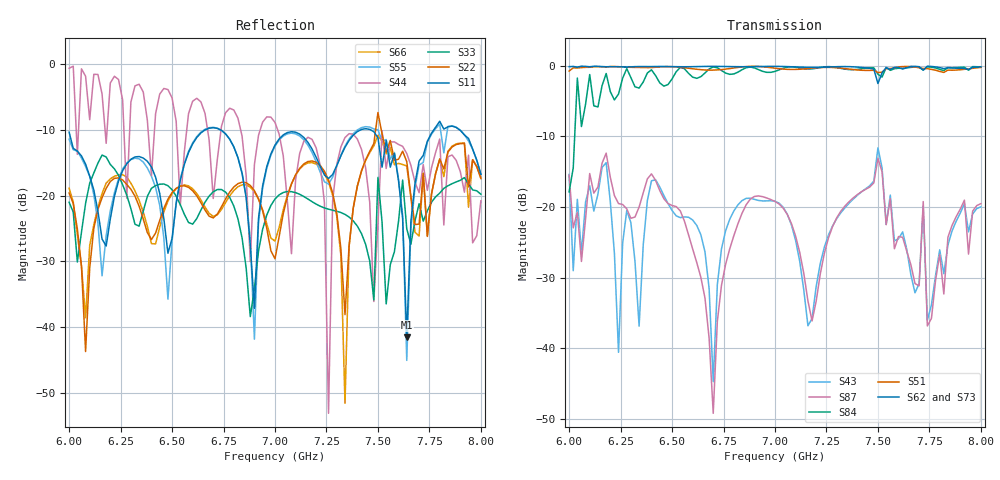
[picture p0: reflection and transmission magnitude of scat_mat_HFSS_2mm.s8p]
! Touchstone file exported from HFSS 2020.1.0
!  File:  D:/Users/rblandin/Documents/Ansoft/scatterer_in_waveguide.aedt
!  Generated:  5:07:41  janv. 16, 2025
!  Design:  HFSSDesign1
!  Project:  scatterer_in_waveguide
!  Setup:  scatmat
!  Solution:  Sweep
! Variables:
!  $height = 2mm
!  $pos_x = 100mm
!  $pos_x_1 = 28.772922mm
!  $pos_x_2 = 55.98679mm
!  $pos_x_3 = 44.27246mm
!  $pos_y = 25mm
!  $pos_y_1 = 43.348048mm
!  $pos_y_2 = 48.8323mm
!  $pos_y_3 = 236.06804mm
!  $radius = 3.1mm
# GHZ S MA R 50.000000
! Terminal data exported
! Port[1] = 1:1
! Port[2] = 1:2
! Port[3] = 1:3
! Port[4] = 1:4
! Port[5] = 2:1
! Port[6] = 2:2
! Port[7] = 2:3
! Port[8] = 2:4
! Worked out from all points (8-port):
!   101 points, 6 GHz to 8 GHz, reference per port
!   strongest paths, dB at 6 GHz, 6.5 GHz, 7 GHz, 7.5 GHz, 8 GHz:
!     S62: -0.1, -0.1, -0.1, -2.5, -0.2
!     S73: -0.5, -0.2, -0.2, -1.6, -0.2
!     S51: -0.8, -0.1, -0.4, -1.0, -0.2
!     S84: -17.9, -1.9, -0.8, -1.2, -0.2
!     S87: -15.5, -19.8, -19.2, -13.1, -19.5
!     S43: -15.4, -20.5, -19.2, -11.6, -20.0
!   lowest |S11| = -41.5 dB at 7.64 GHz (marker M1), VSWR 1.02
!   |S11| at or under -10 dB: start of sweep to 6.662 GHz; 6.733 GHz to 7.417 GHz (683.8 MHz wide, 9.66 % of centre); 7.463 GHz to 7.772 GHz (308.4 MHz wide, 4.05 % of centre)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
